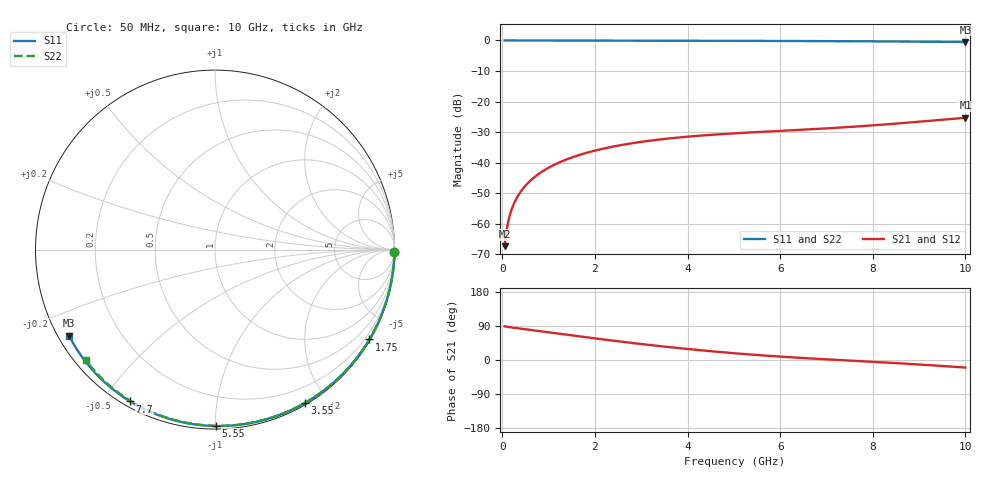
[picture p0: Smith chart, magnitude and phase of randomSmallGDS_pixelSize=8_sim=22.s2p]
! freq	dB(S11)	phase(S11)	dB(S12)	phase(S12)
!  dB(S21)	phase(S21)	dB(S22)	phase(S22)
!S-par simulation data
#  GHz  S  DB  R 50
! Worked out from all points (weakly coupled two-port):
!   200 points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, 50 MHz to 10 GHz, reference 50 ohm
!   highest |S21| = -25.29 dB at 10 GHz (marker M1); lowest = -67.3 dB at 50 MHz (marker M2)
!   lowest |S11| = -0.5 dB at 10 GHz (marker M3), VSWR 34.71, Z = 1.55 - j13.6 ohm
!   |S11| at or under -10 dB: nowhere
!   |S22| runs from -0.5 to 0.0 dB; largest |S21 - S12| = 0
!   S11 on the Smith chart (normalised r, x): 50 MHz: open; 1.75 GHz: 0.03, -3.71; 3.55 GHz: 0.02, -1.75; 5.55 GHz: 0.02, -1.01; 7.7 GHz: 0.02, -0.59; 10 GHz: 0.03, -0.27
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0.05  -0.00 -0.9  -67.32 88.9  -67.32 88.9  -0.00 -0.8
0.1  -0.00 -1.8  -61.32 87.8  -61.32 87.8  -0.00 -1.6
0.15  -0.00 -2.6  -57.83 86.8  -57.83 86.8  -0.00 -2.5
0.2  -0.00 -3.5  -55.36 85.9  -55.36 85.9  -0.00 -3.3
0.25  -0.00 -4.4  -53.45 85.1  -53.45 85.1  -0.00 -4.1
0.35  -0.00 -6.1  -50.57 83.4  -50.57 83.4  -0.00 -5.7
0.5  -0.01 -8.8  -47.52 81.0  -47.52 81.0  -0.01 -8.2
0.7  -0.01 -12.2  -44.65 77.8  -44.65 77.8  -0.01 -11.4
1  -0.02 -17.4  -41.64 72.9  -41.64 72.9  -0.02 -16.3
1.35  -0.03 -23.4  -39.16 67.3  -39.16 67.3  -0.03 -21.9
1.75  -0.04 -30.2  -37.08 60.9  -37.08 60.9  -0.04 -28.2
2.5  -0.06 -42.7  -34.41 49.4  -34.41 49.4  -0.05 -40.0
3.4  -0.08 -57.2  -32.40 36.7  -32.40 36.7  -0.07 -53.6
3.55  -0.08 -59.6  -32.15 34.7  -32.15 34.7  -0.08 -55.8
4.3  -0.10 -71.2  -31.12 25.5  -31.12 25.5  -0.10 -66.7
5.05  -0.13 -82.4  -30.36 17.4  -30.36 17.4  -0.12 -77.2
5.55  -0.15 -89.6  -29.94 12.7  -29.94 12.7  -0.14 -84.0
6.7  -0.21 -105.7  -29.03 3.8  -29.03 3.8  -0.19 -99.1
7.7  -0.27 -119.2  -28.11 -2.8  -28.11 -2.8  -0.26 -111.7
8.35  -0.33 -127.8  -27.39 -7.1  -27.39 -7.1  -0.30 -119.6
9.2  -0.41 -138.9  -26.34 -13.4  -26.34 -13.4  -0.38 -129.8
10  -0.50 -149.5  -25.29 -20.0  -25.29 -20.0  -0.47 -139.3
